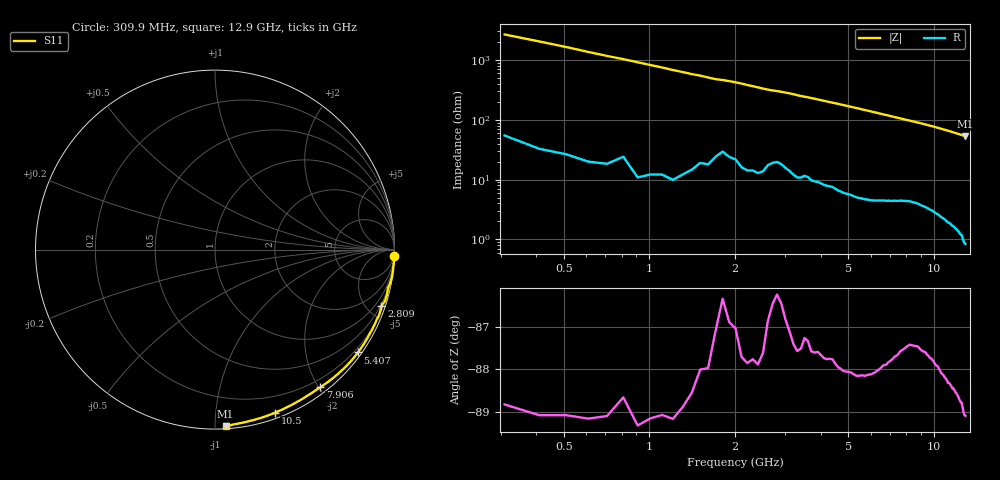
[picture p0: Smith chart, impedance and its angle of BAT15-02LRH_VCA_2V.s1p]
! Infineon Technologies  Discrete & RF Semiconductors
! BAT15-02LRH
! VCA = 2 V
! One-Port S-Parameters
# Hz  S  MA  R  50
!f  S11
!Hz  Mag  Ang
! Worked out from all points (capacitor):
!   127 points, 309.9 MHz to 12.9 GHz, reference 50 ohm
!   read as one part to ground: C = 191 fF near 309.9 MHz
!   lowest |Z| = 53.1 ohm at 12.9 GHz (marker M1)
!   S11 on the Smith chart (normalised r, x): 309.9 MHz: 1, -53; 2.809 GHz: 0.40, -6.02; 5.407 GHz: 0.10, -3.10; 7.906 GHz: 0.09, -2.02; 10.5 GHz: 0.05, -1.44; 12.9 GHz: 0.02, -1.06
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3.0985e8  0.9992 -2.2
1.2094e9  0.9979 -8.4
1.6092e9  0.9931 -11.2
1.70915e9  0.9896 -11.9
1.8091e9  0.9864 -12.3
1.90905e9  0.988 -12.9
2.10895e9  0.9903 -14.1
2.50875e9  0.9878 -17.1
2.6087e9  0.9834 -17.8
2.8086e9  0.9791 -18.8
3.2084e9  0.9838 -21.2
3.4083e9  0.9834 -22.6
3.50825e9  0.9813 -23.2
4.10795e9  0.9822 -27.1
4.6077e9  0.9821 -30.3
5.10745e9  0.9815 -33.7
5.4073e9  0.9814 -35.7
6.10695e9  0.9786 -40.5
6.6067e9  0.9751 -43.9
7.10645e9  0.9719 -47.3
7.90605e9  0.966 -52.6
8.2059e9  0.964 -54.5
9.10545e9  0.9638 -60.3
9.8051e9  0.9651 -64.9
1.050475e10  0.9683 -69.7
1.14043e10  0.9725 -76.0
1.190405e10  0.9752 -79.5
1.290355e10  0.9843 -86.6
